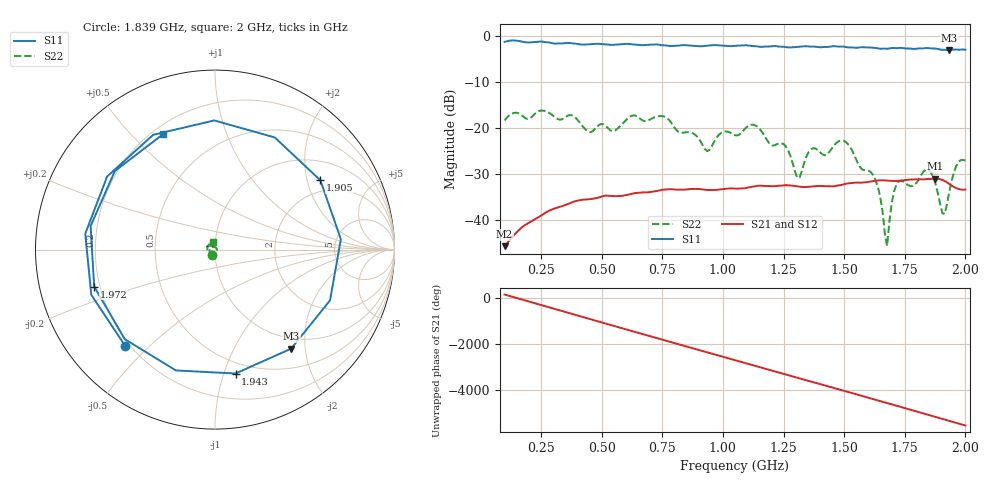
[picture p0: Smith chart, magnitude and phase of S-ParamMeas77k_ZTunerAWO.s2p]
!Keysight Technologies,N5242B,MY48420967,A.15.65.19
!Date: Monday, December 19, 2022 10:47:17
!Correction: S11(C  2-Port  )
!S21(C  2-Port  )
!S12(C  2-Port  )
!S22(C  2-Port  )
!S2P File: Measurements: S11, S21, S12, S22:
# Hz S  dB  R 50
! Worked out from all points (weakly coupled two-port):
!   201 points, 100 MHz to 2 GHz, reference 50 ohm
!   highest |S21| = -30.98 dB at 1.877 GHz (marker M1); lowest = -45.7 dB at 100 MHz (marker M2)
!   lowest |S11| = -3.1 dB at 1.933 GHz (marker M3), VSWR 5.58, Z = 40.5 - j86.8 ohm
!   |S11| at or under -10 dB: nowhere
!   |S22| runs from -45.6 to -16.2 dB; largest |S21 - S12| = 2.6e-05
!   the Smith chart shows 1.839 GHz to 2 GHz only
!   S11 on the Smith chart (normalised r, x): 1.839 GHz: 0.18, -0.43; 1.905 GHz: 1.59, +2.42; 1.943 GHz: 0.40, -1.09; 1.972 GHz: 0.18, -0.14; 2 GHz: 0.24, +0.62
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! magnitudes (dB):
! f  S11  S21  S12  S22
! 100 MHz  -1.3  -45.7  -45.7  -18.4
! 252 MHz  -1.3  -39.0  -38.9  -16.2
! 423 MHz  -1.9  -35.6  -35.6  -19.7
! 736.5 MHz  -2.0  -33.6  -33.6  -17.5
! 936 MHz  -2.2  -33.5  -33.5  -25.0
! 1.05 GHz  -2.2  -33.2  -33.2  -21.6
! 1.126 GHz  -2.2  -32.7  -32.7  -19.3
! 1.25 GHz  -2.4  -32.5  -32.5  -23.5
! 1.306 GHz  -2.4  -32.7  -32.7  -30.8
! 1.373 GHz  -2.4  -32.7  -32.7  -24.4
! 1.516 GHz  -2.5  -32.0  -32.0  -23.5
! 1.629 GHz  -2.7  -31.5  -31.5  -31.3
! 1.677 GHz  -2.8  -31.4  -31.4  -45.6
! 1.687 GHz  -2.8  -31.5  -31.5  -40.4
! 1.724 GHz  -2.7  -31.5  -31.5  -31.6
! 1.839 GHz  -2.7  -31.1  -31.1  -29.0
! 1.877 GHz  -2.8  -31.0  -31.0  -32.1
! 1.905 GHz  -3.1  -31.3  -31.3  -38.5
! 1.933 GHz  -3.1  -32.2  -32.2  -33.9
! 1.943 GHz  -3.1  -32.5  -32.5  -31.6
! 1.972 GHz  -3.0  -33.2  -33.3  -27.4
! 2 GHz  -3.0  -33.4  -33.4  -27.1
